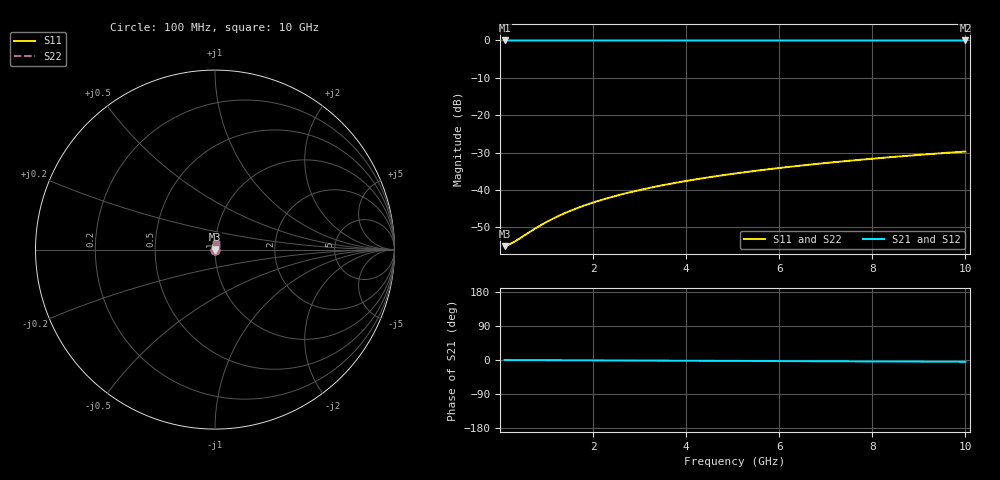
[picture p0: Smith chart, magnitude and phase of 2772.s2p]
# Hz S RI R 50.00
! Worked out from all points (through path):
!   100 points, 100 MHz to 10 GHz, reference 50 ohm
!   highest |S21| = -0.02 dB at 100 MHz (marker M1); lowest = 0.0 dB at 10 GHz (marker M2)
!   lowest |S11| = -55.0 dB at 100 MHz (marker M3), VSWR 1.00, Z = 50.2 + j0.0326 ohm
!   |S11| at or under -10 dB: start of sweep to end of sweep
!   |S22| runs from -55.0 to -29.7 dB; largest |S21 - S12| = 0
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1e8  0.00174 0.000325  0.9983 -0.000823  0.9983 -0.000823  0.00174 0.000325
2e8  0.00175 0.000649  0.9982 -0.00165  0.9982 -0.00165  0.00175 0.000649
3e8  0.00176 0.000974  0.9982 -0.00247  0.9982 -0.00247  0.00176 0.000974
8e8  0.0018 0.0026  0.9982 -0.00658  0.9982 -0.00658  0.0018 0.0026
9e8  0.00181 0.00292  0.9982 -0.00741  0.9982 -0.00741  0.00181 0.00292
1.1e9  0.00183 0.00357  0.9982 -0.00905  0.9982 -0.00905  0.00183 0.00357
1.4e9  0.00186 0.00455  0.9981 -0.0115  0.9981 -0.0115  0.00186 0.00455
1.6e9  0.00188 0.00519  0.9981 -0.0132  0.9981 -0.0132  0.00188 0.00519
1.8e9  0.0019 0.00584  0.9981 -0.0148  0.9981 -0.0148  0.0019 0.00584
2.1e9  0.00194 0.00682  0.998 -0.0173  0.998 -0.0173  0.00194 0.00682
2.5e9  0.002 0.00811  0.9979 -0.0206  0.9979 -0.0206  0.002 0.00811
2.9e9  0.00206 0.00941  0.9978 -0.0239  0.9978 -0.0239  0.00206 0.00941
3.4e9  0.00215 0.011  0.9977 -0.028  0.9977 -0.028  0.00215 0.011
3.8e9  0.00224 0.0123  0.9976 -0.0313  0.9976 -0.0313  0.00224 0.0123
4.2e9  0.00233 0.0136  0.9974 -0.0346  0.9974 -0.0346  0.00233 0.0136
4.6e9  0.00243 0.0149  0.9973 -0.0378  0.9973 -0.0378  0.00243 0.0149
5.1e9  0.00257 0.0165  0.9971 -0.042  0.9971 -0.042  0.00257 0.0165
5.9e9  0.00281 0.0191  0.9967 -0.0485  0.9967 -0.0485  0.00281 0.0191
6.7e9  0.00309 0.0217  0.9963 -0.0551  0.9963 -0.0551  0.00309 0.0217
7.5e9  0.00341 0.0243  0.9959 -0.0617  0.9959 -0.0617  0.00341 0.0243
8.4e9  0.0038 0.0272  0.9953 -0.0691  0.9953 -0.0691  0.0038 0.0272
1e10  0.00461 0.0323  0.9941 -0.0822  0.9941 -0.0822  0.00461 0.0323
